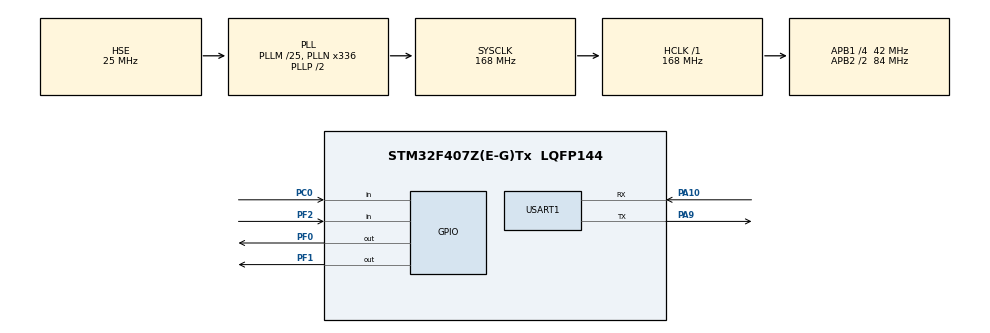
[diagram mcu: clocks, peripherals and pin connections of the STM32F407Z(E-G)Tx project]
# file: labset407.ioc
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Mcu.Family=STM32F4
Mcu.Name=STM32F407Z(E-G)Tx
Mcu.Package=LQFP144
NVIC.PriorityGroup=NVIC_PRIORITYGROUP_4
NVIC.USART1_IRQn=true\:0\:0\:false\:false\:true\:true\:true\:true
PA10.Mode=Asynchronous
PA10.Signal=USART1_RX
PA9.Mode=Asynchronous
PA9.Signal=USART1_TX
PC0.Signal=GPIO_Input
PF0.Signal=GPIO_Output
PF1.Signal=GPIO_Output
PF2.Signal=GPIO_Input
PH0-OSC_IN.Mode=HSE-External-Oscillator
PH0-OSC_IN.Signal=RCC_OSC_IN
PH1-OSC_OUT.Mode=HSE-External-Oscillator
PH1-OSC_OUT.Signal=RCC_OSC_OUT
ProjectManager.HeapSize=0x200
ProjectManager.StackSize=0x400
ProjectManager.TargetToolchain=Makefile
RCC.48MHZClocksFreq_Value=84000000
RCC.AHBFreq_Value=168000000
RCC.APB1CLKDivider=RCC_HCLK_DIV4
RCC.APB1Freq_Value=42000000
RCC.APB1TimFreq_Value=84000000
RCC.APB2CLKDivider=RCC_HCLK_DIV2
RCC.APB2Freq_Value=84000000
RCC.APB2TimFreq_Value=168000000
RCC.CortexFreq_Value=168000000
RCC.HCLKFreq_Value=168000000
RCC.HSE_VALUE=25000000
RCC.HSI_VALUE=16000000
RCC.LSE_VALUE=32768
RCC.PLLM=25
RCC.PLLN=336
RCC.PLLSourceVirtual=RCC_PLLSOURCE_HSE
RCC.SYSCLKFreq_VALUE=168000000
RCC.SYSCLKSource=RCC_SYSCLKSOURCE_PLLCLK
RCC.VCOOutputFreq_Value=336000000
USART1.VirtualMode=VM_ASYNC
board=custom

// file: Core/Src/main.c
/* USER CODE BEGIN Header */
/**
  ******************************************************************************
  * @file           : main.c
  * @brief          : Main program body
  ******************************************************************************
  * @attention
  *
  * Copyright (c) 2023 STMicroelectronics.
  * All rights reserved.
  *
  * This software is licensed under terms that can be found in the LICENSE file
  * in the root directory of this software component.
  * If no LICENSE file comes with this software, it is provided AS-IS.
  *
  ******************************************************************************
  */
/* USER CODE END Header */
#include "main.h"
#include "usart.h"
#include "gpio.h"

/* USER CODE BEGIN PD */
uint8_t rx_buf[10];
uint8_t sw = 0;//拨码开关状态
uint8_t flag = 0;//握手状态

/* USER CODE END PD */

void SystemClock_Config(void);

/* USER CODE BEGIN 0 */

//回调函数
void HAL_UART_RxCpltCallback(UART_HandleTypeDef *huart)
{

	if(rx_buf[0] == 0x31)
	{
		flag = 1;
		rx_buf[0] = 0x30;
		HAL_GPIO_WritePin(GPIOF, GPIO_PIN_1, GPIO_PIN_SET);

		HAL_UART_Transmit_DMA(&huart1, "111\r\n",  5);
	}

	if(rx_buf[0] == 0x32)
	{
		HAL_GPIO_WritePin(GPIOF, GPIO_PIN_2, GPIO_PIN_SET);
	}
}

/* USER CODE END 0 */

int main(void)
{

  /* MCU Configuration--------------------------------------------------------*/

  /* Reset of all peripherals, Initializes the Flash interface and the Systick. */
  HAL_Init();

  /* Configure the system clock */
  SystemClock_Config();

  /* Initialize all configured peripherals */
  MX_GPIO_Init();
  MX_USART1_UART_Init();
  /* USER CODE BEGIN 2 */

  //LED关闭

	HAL_GPIO_WritePin(GPIOF, GPIO_PIN_0, GPIO_PIN_RESET);
	HAL_GPIO_WritePin(GPIOF, GPIO_PIN_1, GPIO_PIN_RESET);
	HAL_GPIO_WritePin(GPIOF, GPIO_PIN_2, GPIO_PIN_RESET);

while (1)
{
    /* USER CODE END WHILE */

    /* USER CODE BEGIN 3 */
	//拨码开关
		if(HAL_GPIO_ReadPin(GPIOC, GPIO_PIN_0) == 1)
		{
			sw = 1;
			HAL_GPIO_WritePin(GPIOF, GPIO_PIN_0, GPIO_PIN_SET);
		}
		else
		{
			sw = 0;
			HAL_GPIO_WritePin(GPIOF, GPIO_PIN_0, GPIO_PIN_RESET);
		}

		// //握手发送端
		// if(sw == 1 && flag == 0)
		// {
		// 	//
		// 	HAL_UART_Transmit(&huart1, "111\r\n", 5,0xFFFF);

		// 	HAL_UART_Receive_IT(&huart1, rx_buf, 5);
		// }
		// //发送
		// else if(sw == 0 && flag == 1)
		// {
		// 	HAL_UART_Transmit(&huart1, "222\r\n",5, 0xFFFF);

		// 	//HAL_UART_Receive_IT(&huart1, rx_buf, 5);
		// }

		//握手 接收端
		if(sw == 1 && flag == 0)
		{
			HAL_UART_Receive_IT(&huart1, rx_buf, 5);
		}
		//´«ËÍ
		else if(sw == 0 && flag == 1)
		{

			//接收
			HAL_UART_Receive_IT(&huart1, rx_buf, 5);
		}

  /* USER CODE END 3 */
}
}
void SystemClock_Config(void)
{
  RCC_OscInitTypeDef RCC_OscInitStruct = {0};
  RCC_ClkInitTypeDef RCC_ClkInitStruct = {0};

  /** Configure the main internal regulator output voltage
  */
  __HAL_RCC_PWR_CLK_ENABLE();
  __HAL_PWR_VOLTAGESCALING_CONFIG(PWR_REGULATOR_VOLTAGE_SCALE1);

  /** Initializes the RCC Oscillators according to the specified parameters
  * in the RCC_OscInitTypeDef structure.
  */
  RCC_OscInitStruct.OscillatorType = RCC_OSCILLATORTYPE_HSE;
  RCC_OscInitStruct.HSEState = RCC_HSE_ON;
  RCC_OscInitStruct.PLL.PLLState = RCC_PLL_ON;
  RCC_OscInitStruct.PLL.PLLSource = RCC_PLLSOURCE_HSE;
  RCC_OscInitStruct.PLL.PLLM = 25;
  RCC_OscInitStruct.PLL.PLLN = 336;
  RCC_OscInitStruct.PLL.PLLP = RCC_PLLP_DIV2;
  RCC_OscInitStruct.PLL.PLLQ = 4;
  if (HAL_RCC_OscConfig(&RCC_OscInitStruct) != HAL_OK)
  {
    Error_Handler();
  }

  /** Initializes the CPU, AHB and APB buses clocks
  */
  RCC_ClkInitStruct.ClockType = RCC_CLOCKTYPE_HCLK|RCC_CLOCKTYPE_SYSCLK
                              |RCC_CLOCKTYPE_PCLK1|RCC_CLOCKTYPE_PCLK2;
  RCC_ClkInitStruct.SYSCLKSource = RCC_SYSCLKSOURCE_PLLCLK;
  RCC_ClkInitStruct.AHBCLKDivider = RCC_SYSCLK_DIV1;
  RCC_ClkInitStruct.APB1CLKDivider = RCC_HCLK_DIV4;
  RCC_ClkInitStruct.APB2CLKDivider = RCC_HCLK_DIV2;

  if (HAL_RCC_ClockConfig(&RCC_ClkInitStruct, FLASH_LATENCY_5) != HAL_OK)
  {
    Error_Handler();
  }
}

void Error_Handler(void)
{
  __disable_irq();
  while (1)
  {
  }
}
